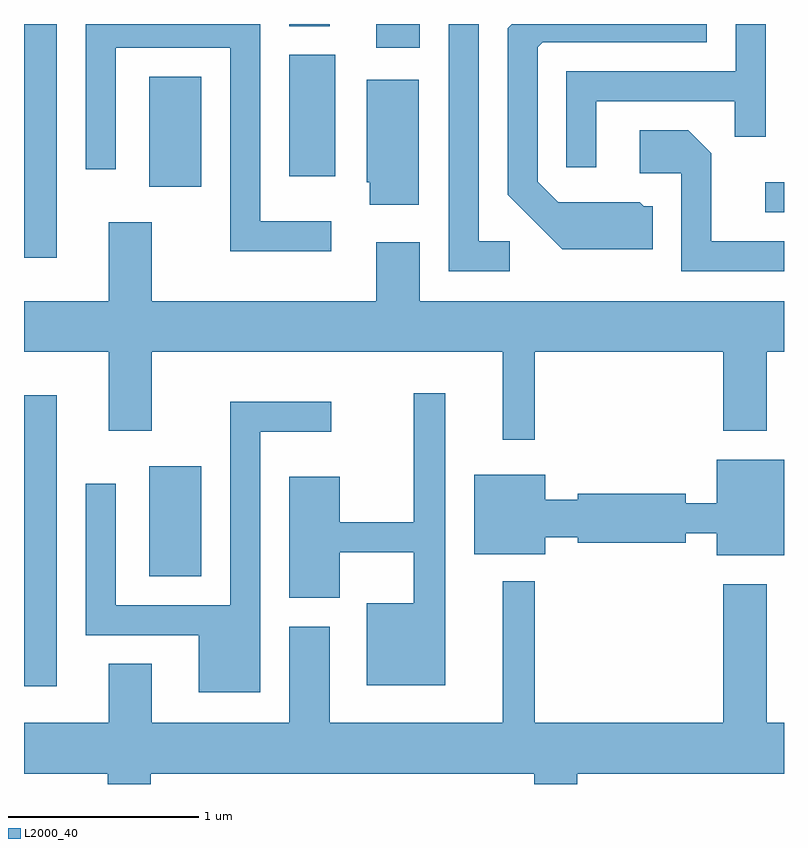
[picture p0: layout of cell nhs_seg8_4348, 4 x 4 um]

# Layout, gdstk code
import gdstk
lib = gdstk.Library(unit=1e-6, precision=1e-09)
def R(c, l, rs):  # rectangles x0, y0, x1, y1
    for r in rs: c.add(gdstk.rectangle(r[:2], r[2:], *l))
def P(c, l, *ps):  # polygons
    for p in ps: c.add(gdstk.Polygon(p, *l))
L2000_40 = (2000, 40)

nhs_seg8_4348 = lib.new_cell('nhs_seg8_4348')
R(nhs_seg8_4348, L2000_40, [(315.611,1856.856,315.784,1858.389), (316.271,1857.436,316.544,1858.014), (315.611,1859.111,315.784,1860.342), (319.513,1859.351,319.611,1859.509), (316.271,1859.486,316.544,1860.064), (317.006,1859.541,317.249,1860.179), (317.466,1860.216,317.694,1860.342), (317.006,1860.331,317.219,1860.342)])
P(nhs_seg8_4348, L2000_40, [(318.919,1859.384),(318.872,1859.384),(318.852,1859.404),(318.422,1859.404),(318.314,1859.512),(318.314,1860.219),(318.342,1860.246),(319.204,1860.246),(319.204,1860.342),(318.179,1860.342),(318.156,1860.319),(318.156,1859.444),(318.444,1859.156),(318.919,1859.156)],
  [(318.624,1859.936),(319.351,1859.936),(319.351,1859.748),(319.514,1859.748),(319.514,1860.342),(319.356,1860.342),(319.356,1860.094),(318.466,1860.094),(318.466,1859.588),(318.624,1859.588)],
  [(317.228,1859.304),(316.854,1859.304),(316.854,1860.342),(315.936,1860.342),(315.936,1859.578),(316.094,1859.578),(316.094,1860.216),(316.696,1860.216),(316.696,1859.146),(317.228,1859.146)],
  [(318.168,1859.199),(318.004,1859.199),(318.004,1860.342),(317.846,1860.342),(317.846,1859.041),(318.168,1859.041)],
  [(317.689,1860.049),(317.416,1860.049),(317.416,1859.51),(317.431,1859.51),(317.431,1859.391),(317.689,1859.391)],
  [(319.611,1859.199),(319.229,1859.199),(319.229,1859.662),(319.107,1859.784),(318.851,1859.784),(318.851,1859.556),(319.071,1859.556),(319.071,1859.041),(319.611,1859.041)],
  [(318.299,1858.616),(319.291,1858.616),(319.291,1858.201),(319.519,1858.201),(319.519,1858.616),(319.611,1858.616),(319.611,1858.884),(317.694,1858.884),(317.694,1859.194),(317.466,1859.194),(317.466,1858.884),(316.284,1858.884),(316.284,1859.299),(316.056,1859.299),(316.056,1858.884),(315.611,1858.884),(315.611,1858.616),(316.056,1858.616),(316.056,1858.201),(316.284,1858.201),(316.284,1858.616),(318.131,1858.616),(318.131,1858.153),(318.299,1858.153)],
  [(317.829,1858.398),(317.661,1858.398),(317.661,1857.719),(317.274,1857.719),(317.274,1857.959),(317.006,1857.959),(317.006,1857.321),(317.274,1857.321),(317.274,1857.561),(317.661,1857.561),(317.661,1857.294),(317.416,1857.294),(317.416,1856.861),(317.829,1856.861)],
  [(316.854,1858.196),(317.228,1858.196),(317.228,1858.354),(316.696,1858.354),(316.696,1857.284),(316.094,1857.284),(316.094,1857.923),(315.936,1857.923),(315.936,1857.126),(316.531,1857.126),(316.531,1856.826),(316.854,1856.826)],
  [(319.611,1858.049),(319.256,1858.049),(319.256,1857.819),(319.094,1857.819),(319.094,1857.869),(318.526,1857.869),(318.526,1857.839),(318.354,1857.839),(318.354,1857.969),(317.981,1857.969),(317.981,1857.551),(318.354,1857.551),(318.354,1857.641),(318.526,1857.641),(318.526,1857.611),(319.094,1857.611),(319.094,1857.661),(319.256,1857.661),(319.256,1857.546),(319.611,1857.546)],
  [(316.279,1856.396),(318.296,1856.396),(318.296,1856.342),(318.524,1856.342),(318.524,1856.396),(319.611,1856.396),(319.611,1856.664),(319.519,1856.664),(319.519,1857.394),(319.291,1857.394),(319.291,1856.664),(318.299,1856.664),(318.299,1857.408),(318.131,1857.408),(318.131,1856.664),(317.219,1856.664),(317.219,1857.169),(317.006,1857.169),(317.006,1856.664),(316.284,1856.664),(316.284,1856.974),(316.056,1856.974),(316.056,1856.664),(315.611,1856.664),(315.611,1856.396),(316.051,1856.396),(316.051,1856.342),(316.279,1856.342)])

lib.write_gds('nhs_seg8_4348.gds')
